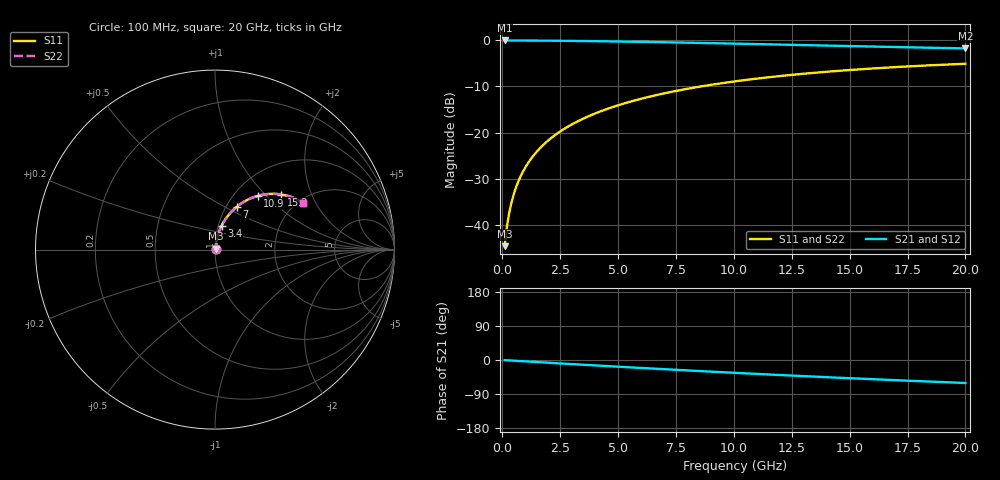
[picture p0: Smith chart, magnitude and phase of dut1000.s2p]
! Touchstone file exported from HFSS 2026.1.0
!  File:  C:/ffzhzh/LocalFiles/Ansys_Project_Files/temp_train_TMRDL_1000_1783159522_55132.aedt
!  Generated:  06:06:49 PM Jul  4, 2026
!  Design:  TMRDL
!  Project:  temp_train_TMRDL_1000_1783159522_55132
! Variables:
!  h_bsmrdl = 2um
!  h_ox = 20um
!  h_rdl = 5um
!  h_sub = 80um
!  h_tmrdl = 5.87um
!  h_tsv = 80um
!  h_via = 3um
!  l_bsmrdl = 300um
!  l_sub = 1343.17um
!  l_tmrdl = 943.17um
!  m_sub = 200um
!  pitch = 48.57um
!  r_tsv = 6um
!  s_tmrdl = 10um
!  w_bsmrdl = 18um
!  w_sub = 500um
!  w_tmrdl = 14.79um
!  x_tsv_center1 = 950.565um
!  x_tsv_center2 = 1268.565um
!  x_tsv_center3 = 2226.525um
!  x_tsv_center4 = 2544.525um
!  x_tsv_center5 = 3502.485um
!  x_tsv_center6 = 3820.485um
# GHz S MA R 50.000000
! Terminal data exported
! Port[1] = TM_RDL1_1_T1
! Port[2] = TM_RDL1_1_T2
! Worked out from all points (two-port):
!   200 points, 100 MHz to 20 GHz, reference 50 ohm
!   highest |S21| = -0.03 dB at 100 MHz (marker M1); lowest = -1.8 dB at 20 GHz (marker M2)
!   |S21| within 3 dB of the highest: start of sweep to end of sweep
!   lowest |S11| = -44.6 dB at 100 MHz (marker M3), VSWR 1.01, Z = 50.4 + j0.437 ohm
!   |S11| at or under -10 dB: start of sweep to 8.584 GHz
!   |S22| runs from -44.6 to -5.1 dB; largest |S21 - S12| = 1.4e-14
!   S11 on the Smith chart (normalised r, x): 100 MHz: 1.01, +0.01; 3.4 GHz: 1.04, +0.28; 7 GHz: 1.12, +0.57; 10.9 GHz: 1.27, +0.89; 15.2 GHz: 1.56, +1.25; 20 GHz: 2.12, +1.60
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0.1  0.005856 47.8  0.9961 -0.4  0.9961 -0.4  0.005856 47.8
! Gamma 0 0 0 0
! Port Impedance 50 0 50 0
0.2  0.009548 64.2  0.9959 -0.7  0.9959 -0.7  0.009548 64.2
0.3  0.01352 70.9  0.9957 -1.1  0.9957 -1.1  0.01352 70.9
0.4  0.01756 74.3  0.9955 -1.5  0.9955 -1.5  0.01756 74.3
0.5  0.02162 76.4  0.9954 -1.8  0.9954 -1.8  0.02162 76.4
0.7  0.02978 78.6  0.995 -2.6  0.995 -2.6  0.02978 78.6
1  0.04207 79.7  0.9943 -3.7  0.9943 -3.7  0.04207 79.8
1.4  0.05843 79.8  0.9931 -5.1  0.9931 -5.1  0.05843 79.8
2  0.08274 78.7  0.9907 -7.3  0.9907 -7.3  0.08274 78.7
2.6  0.1066 77.0  0.9877 -9.4  0.9877 -9.4  0.1066 77.1
3.4  0.1378 74.6  0.9828 -12.2  0.9828 -12.2  0.1378 74.6
3.5  0.1416 74.3  0.9822 -12.6  0.9822 -12.6  0.1416 74.3
5  0.1972 69.5  0.9708 -17.7  0.9708 -17.7  0.1972 69.5
6.8  0.2595 63.8  0.9546 -23.7  0.9546 -23.7  0.2595 63.9
7  0.2662 63.2  0.9526 -24.3  0.9526 -24.3  0.2661 63.3
8.5  0.3137 58.6  0.9373 -29.1  0.9373 -29.1  0.3137 58.7
10.1  0.3603 53.9  0.9199 -34.1  0.9199 -34.1  0.3602 53.9
10.9  0.3819 51.5  0.9109 -36.5  0.9109 -36.5  0.3819 51.6
13.4  0.4427 44.5  0.8829 -43.7  0.8829 -43.7  0.4427 44.6
15.2  0.4801 39.7  0.8632 -48.6  0.8632 -48.6  0.4801 39.8
16.7  0.5075 35.9  0.8476 -52.5  0.8476 -52.5  0.5074 36.0
20  0.5564 27.9  0.8168 -60.7  0.8168 -60.7  0.5564 28.0
